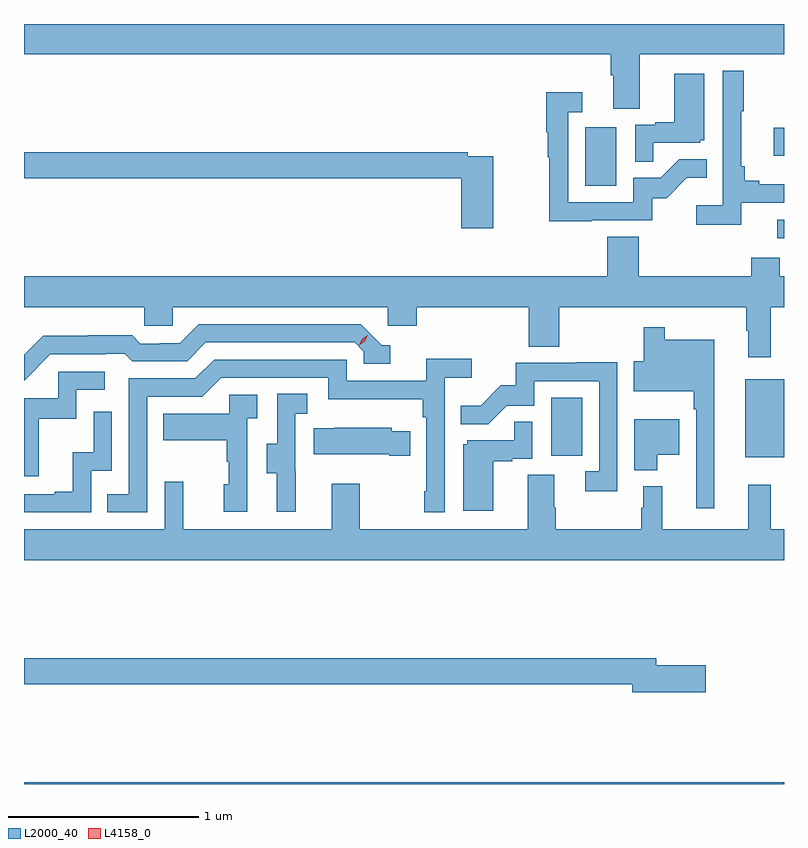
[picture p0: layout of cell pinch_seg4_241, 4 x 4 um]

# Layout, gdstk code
import gdstk
lib = gdstk.Library(unit=1e-6, precision=1e-09)
def R(c, l, rs):  # rectangles x0, y0, x1, y1
    for r in rs: c.add(gdstk.rectangle(r[:2], r[2:], *l))
def P(c, l, *ps):  # polygons
    for p in ps: c.add(gdstk.Polygon(p, *l))
L2000_40 = (2000, 40)
L4158_0 = (4158, 0)

pinch_seg4_241 = lib.new_cell('pinch_seg4_241')
R(pinch_seg4_241, L2000_40, [(909.618,815.623,913.618,815.632), (913.415,817.343,913.618,817.753), (912.392,817.35,912.556,817.657), (913.583,818.496,913.618,818.592), (912.572,818.772,912.736,819.079), (913.563,818.93,913.618,819.078)])
P(pinch_seg4_241, L2000_40, [(912.859,819.464),(913.618,819.464),(913.618,819.623),(909.618,819.623),(909.618,819.464),(912.707,819.464),(912.707,819.352),(912.719,819.352),(912.719,819.178),(912.859,819.178)],
  [(913.394,818.682),(913.618,818.682),(913.618,818.779),(913.489,818.779),(913.489,818.798),(913.412,818.798),(913.412,818.875),(913.393,818.875),(913.393,819.163),(913.405,819.163),(913.405,819.376),(913.296,819.376),(913.296,818.668),(913.155,818.668),(913.155,818.566),(913.394,818.566)],
  [(912.929,818.997),(913.176,818.997),(913.176,819.012),(913.198,819.012),(913.198,819.361),(913.04,819.361),(913.04,819.106),(912.941,819.106),(912.941,819.093),(912.834,819.093),(912.834,818.899),(912.929,818.899)],
  [(912.605,818.589),(912.924,818.589),(912.924,818.706),(913,818.706),(913.107,818.813),(913.211,818.813),(913.211,818.912),(913.067,818.912),(912.969,818.814),(912.825,818.814),(912.825,818.685),(912.483,818.685),(912.483,819.159),(912.556,819.159),(912.556,819.265),(912.367,819.265),(912.367,819.052),(912.375,819.052),(912.375,818.922),(912.382,818.922),(912.382,818.584),(912.605,818.584)],
  [(912.088,818.928),(911.954,818.928),(911.954,818.948),(909.618,818.948),(909.618,818.812),(911.918,818.812),(911.918,818.547),(912.088,818.547)],
  [(913.547,818.132),(913.618,818.132),(913.618,818.296),(913.596,818.296),(913.596,818.394),(913.445,818.394),(913.445,818.296),(912.854,818.296),(912.854,818.504),(912.689,818.504),(912.689,818.296),(909.618,818.296),(909.618,818.132),(910.251,818.132),(910.251,818.034),(910.401,818.034),(910.401,818.132),(911.532,818.132),(911.532,818.034),(911.684,818.034),(911.684,818.132),(912.275,818.132),(912.275,817.924),(912.435,817.924),(912.435,818.132),(913.419,818.132),(913.419,818.009),(913.43,818.009),(913.43,817.869),(913.547,817.869)],
  [(909.756,817.884),(910.049,817.884),(910.049,817.887),(910.148,817.887),(910.187,817.848),(910.476,817.848),(910.575,817.947),(911.358,817.947),(911.406,817.899),(911.406,817.836),(911.545,817.836),(911.545,817.932),(911.502,817.932),(911.391,818.043),(910.538,818.043),(910.439,817.944),(910.332,817.944),(910.332,817.941),(910.229,817.941),(910.187,817.984),(909.954,817.984),(909.954,817.981),(909.718,817.981),(909.618,817.881),(909.618,817.746)],
  [(913.252,817.96),(912.991,817.96),(912.991,818.026),(912.881,818.026),(912.881,817.849),(912.828,817.849),(912.828,817.691),(913.143,817.691),(913.143,817.595),(913.155,817.595),(913.155,817.074),(913.252,817.074)],
  [(910.266,817.662),(910.557,817.662),(910.656,817.761),(911.22,817.761),(911.22,817.649),(911.716,817.649),(911.716,817.553),(911.736,817.553),(911.736,817.165),(911.724,817.165),(911.724,817.053),(911.832,817.053),(911.832,817.76),(911.974,817.76),(911.974,817.862),(911.735,817.862),(911.735,817.746),(911.316,817.746),(911.316,817.857),(910.619,817.857),(910.52,817.758),(910.17,817.758),(910.17,817.149),(910.057,817.149),(910.057,817.053),(910.266,817.053)],
  [(912.741,817.844),(912.523,817.844),(912.523,817.839),(912.205,817.839),(912.205,817.722),(912.128,817.722),(912.021,817.615),(911.917,817.615),(911.917,817.516),(912.061,817.516),(912.159,817.614),(912.303,817.614),(912.303,817.743),(912.645,817.743),(912.645,817.269),(912.573,817.269),(912.573,817.164),(912.741,817.164)],
  [(909.695,817.545),(909.894,817.545),(909.894,817.698),(910.042,817.698),(910.042,817.794),(909.798,817.794),(909.798,817.653),(909.618,817.653),(909.618,817.242),(909.695,817.242)],
  [(911.048,817.269),(911.046,817.269),(911.046,817.573),(911.11,817.573),(911.11,817.676),(910.95,817.676),(910.95,817.413),(910.895,817.413),(910.895,817.258),(910.949,817.258),(910.949,817.056),(911.048,817.056)],
  [(910.794,817.547),(910.846,817.547),(910.846,817.671),(910.698,817.671),(910.698,817.573),(910.351,817.573),(910.351,817.433),(910.686,817.433),(910.686,817.319),(910.696,817.319),(910.696,817.2),(910.67,817.2),(910.67,817.056),(910.794,817.056)],
  [(909.972,817.272),(910.08,817.272),(910.08,817.582),(909.984,817.582),(909.984,817.37),(909.875,817.37),(909.875,817.162),(909.779,817.162),(909.779,817.149),(909.618,817.149),(909.618,817.053),(909.972,817.053)],
  [(912.952,817.355),(913.066,817.355),(913.066,817.543),(912.83,817.543),(912.83,817.274),(912.952,817.274)],
  [(912.088,817.323),(912.188,817.323),(912.188,817.335),(912.294,817.335),(912.294,817.529),(912.199,817.529),(912.199,817.431),(911.952,817.431),(911.952,817.41),(911.93,817.41),(911.93,817.062),(912.088,817.062)],
  [(911.651,817.48),(911.553,817.48),(911.553,817.498),(911.251,817.498),(911.251,817.495),(911.143,817.495),(911.143,817.358),(911.54,817.358),(911.54,817.351),(911.651,817.351)],
  [(911.237,817.204),(911.237,816.964),(910.457,816.964),(910.457,817.213),(910.359,817.213),(910.359,816.964),(909.618,816.964),(909.618,816.8),(913.618,816.8),(913.618,816.964),(913.547,816.964),(913.547,817.198),(913.43,817.198),(913.43,816.964),(912.977,816.964),(912.977,817.189),(912.878,817.189),(912.878,817.076),(912.867,817.076),(912.867,816.964),(912.417,816.964),(912.417,817.076),(912.409,817.076),(912.409,817.25),(912.269,817.25),(912.269,816.964),(911.385,816.964),(911.385,817.204)],
  [(913.207,816.248),(912.946,816.248),(912.946,816.284),(909.618,816.284),(909.618,816.148),(912.818,816.148),(912.818,816.106),(913.207,816.106)])
P(pinch_seg4_241, L4158_0, [(911.382,817.933),(911.382,817.933),(911.397,817.966),(911.428,817.986),(911.428,817.986),(911.428,817.986),(911.412,817.953),(911.382,817.933)])

lib.write_gds('pinch_seg4_241.gds')
